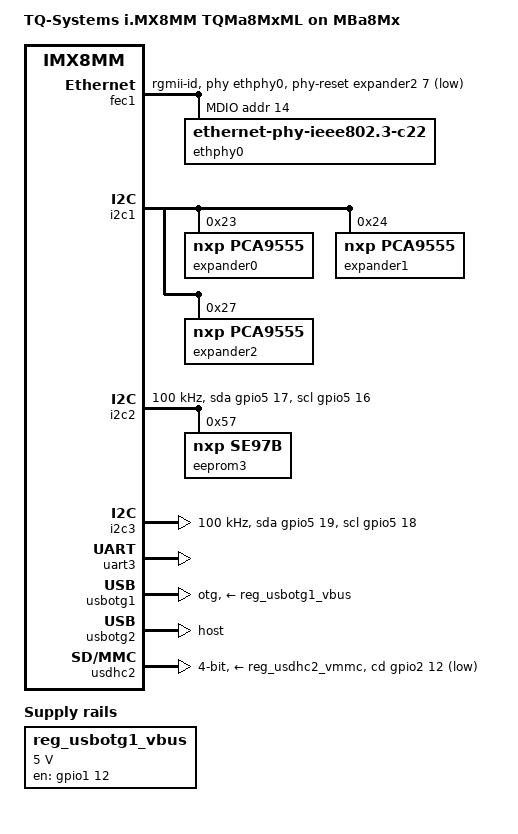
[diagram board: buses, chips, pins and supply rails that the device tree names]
// SPDX-License-Identifier: GPL-2.0-or-later OR MIT
/*
 * Copyright 2020-2021 TQ-Systems GmbH
 */

/dts-v1/;

#include "imx8mm-tqma8mxml.dtsi"
#include <dt-bindings/net/ti-dp83867.h>

/ {
	model = "TQ-Systems i.MX8MM TQMa8MxML on MBa8Mx";
	compatible = "tq,imx8mm-mba8mx", "tq,imx8mm-tqma8mxml", "fsl,imx8mm";

	aliases {
		mmc0 = &usdhc3;
		mmc1 = &usdhc2;
		/delete-property/ mmc2;
	};

	chosen {
		bootargs = "console=ttymxc2,115200 earlycon=ec_imx6q,0x30880000,115200";
		stdout-path = &uart3;
	};

	reg_usbotg1_vbus: regulator-usbotg1-vbus {
		compatible = "regulator-fixed";
		regulator-name = "USBOTG1_VBUS";
		pinctrl-names = "default";
		pinctrl-0 = <&pinctrl_reg_usbotg1_vbus>;
		regulator-min-microvolt = <5000000>;
		regulator-max-microvolt = <5000000>;
		gpio = <&gpio1 12 GPIO_ACTIVE_HIGH>;
		enable-active-high;
	};
};

&fec1 {
	pinctrl-names = "default";
	pinctrl-0 = <&pinctrl_fec1>;
	phy-mode = "rgmii-id";
	phy-handle = <&ethphy0>;
	fsl,magic-packet;
	phy-reset-gpios = <&expander2 7 GPIO_ACTIVE_LOW>;
	phy-reset-duration = <500>;
	status = "okay";

	mdio {
		#address-cells = <1>;
		#size-cells = <0>;

		ethphy0: ethernet-phy@e {
			compatible = "ethernet-phy-ieee802.3-c22";
			reg = <0xe>;
			ti,rx-internal-delay = <DP83867_RGMIIDCTL_2_50_NS>;
			ti,tx-internal-delay = <DP83867_RGMIIDCTL_2_50_NS>;
			ti,fifo-depth = <DP83867_PHYCR_FIFO_DEPTH_4_B_NIB>;
			ti,dp83867-rxctrl-strap-quirk;
			ti,clk-output-sel = <DP83867_CLK_O_SEL_OFF>;
			enet-phy-lane-no-swap;
			/* LED0: Link, LED2: activity */
			ti,led-function = <0x0100>;
			/* active low, LED0/2 driven by phy */
			ti,led-ctrl = <0x1010>;
		};
	};
};

&iomuxc {
	/*
	 * Pad Control Register
	 *
	 * | 0  | 0    | 0   | 0   | 0x   | 00x |
	 * | PE | HYS  | PUE | ODE | FSEL | DSE |
	 *
	 * PE: Pull Resistors Enable
	 * HYS: Hysteresis Enable
	 *
	 * PUE:
	 * 0 — Select pull-down resistors
	 * 1 — Select pull-up resistors
	 *
	 * ODE: Open Drain Enable
	 *
	 * FSEL:
	 * 0x - Select slow slew rate (SR=1)
	 * 1x — Select fast slew rate (SR=0)
	 *
	 * DSE:
	 * 00x — Drive strength x1
	 * 10x — Drive strength x2
	 * 01x — Drive strength x4
	 * 11x — Drive strength x6
	 *
	 * GPIO: 0x84 [HYS|slow|x2] (no pull up)
	 * UART: 0x16 [fast|x6] (no pull up)
	 * USDHC: 0x1d4 [PE|HYS|PUE|fast|x2]
	 * USDHC100: 0x1d4 [PE|HYS|PUE|fast|x2]
	 * USDHC200: 0x1d4 [PE|HYS|PUE|fast|x2]
	 * ENET_MDIO: 0x2 [slow|x4] (no pull up)
	 * ENET_TX: 0x16 [fast|x6] (no pull up)
	 * ENET_RX: 0x90 [HYS|fast|x1] (no pull up)
	 * ENET_GPIO: 0x10 [fast|x1] (no pull up)
	 */

	pinctrl_fec1: fec1grp {
		fsl,pins = <
			MX8MM_IOMUXC_ENET_MDC_ENET1_MDC		0x40000002
			MX8MM_IOMUXC_ENET_MDIO_ENET1_MDIO	0x40000002
			MX8MM_IOMUXC_ENET_TD3_ENET1_RGMII_TD3	0x14
			MX8MM_IOMUXC_ENET_TD2_ENET1_RGMII_TD2	0x14
			MX8MM_IOMUXC_ENET_TD1_ENET1_RGMII_TD1	0x14
			MX8MM_IOMUXC_ENET_TD0_ENET1_RGMII_TD0	0x14
			MX8MM_IOMUXC_ENET_RD3_ENET1_RGMII_RD3	0x90
			MX8MM_IOMUXC_ENET_RD2_ENET1_RGMII_RD2	0x90
			MX8MM_IOMUXC_ENET_RD1_ENET1_RGMII_RD1	0x90
			MX8MM_IOMUXC_ENET_RD0_ENET1_RGMII_RD0	0x90
			MX8MM_IOMUXC_ENET_TXC_ENET1_RGMII_TXC	0x14
			MX8MM_IOMUXC_ENET_RXC_ENET1_RGMII_RXC	0x90
			MX8MM_IOMUXC_ENET_RX_CTL_ENET1_RGMII_RX_CTL	0x90
			MX8MM_IOMUXC_ENET_TX_CTL_ENET1_RGMII_TX_CTL	0x14
			MX8MM_IOMUXC_SAI2_RXC_GPIO4_IO22	0x10
		>;
	};

	pinctrl_gpiobutton: gpiobuttongrp {
		fsl,pins = <
			MX8MM_IOMUXC_GPIO1_IO05_GPIO1_IO5	0x84
			MX8MM_IOMUXC_GPIO1_IO07_GPIO1_IO7	0x84
			MX8MM_IOMUXC_SD1_CLK_GPIO2_IO0		0x84
		>;
	};

	pinctrl_gpioled: gpioledgrp {
		fsl,pins = <
			MX8MM_IOMUXC_GPIO1_IO00_GPIO1_IO0	0x84
			MX8MM_IOMUXC_NAND_DQS_GPIO3_IO14	0x84
		>;
	};

	pinctrl_i2c2: i2c2grp {
		fsl,pins = <
			MX8MM_IOMUXC_I2C2_SCL_I2C2_SCL		0x40000004
			MX8MM_IOMUXC_I2C2_SDA_I2C2_SDA		0x40000004
		>;
	};

	pinctrl_i2c2_gpio: i2c2gpiogrp {
		fsl,pins = <
			MX8MM_IOMUXC_I2C2_SCL_GPIO5_IO16	0x40000004
			MX8MM_IOMUXC_I2C2_SDA_GPIO5_IO17	0x40000004
		>;
	};

	pinctrl_i2c3: i2c3grp {
		fsl,pins = <
			MX8MM_IOMUXC_I2C3_SCL_I2C3_SCL		0x40000004
			MX8MM_IOMUXC_I2C3_SDA_I2C3_SDA		0x40000004
		>;
	};

	pinctrl_i2c3_gpio: i2c3gpiogrp {
		fsl,pins = <
			MX8MM_IOMUXC_I2C3_SCL_GPIO5_IO18	0x40000004
			MX8MM_IOMUXC_I2C3_SDA_GPIO5_IO19	0x40000004
		>;
	};

	pinctrl_reg_usbotg1_vbus: regusbotg1vbusgrp {
		fsl,pins = <
			/* PWR */
			MX8MM_IOMUXC_GPIO1_IO12_GPIO1_IO12	0x84
		>;
	};

	pinctrl_uart3: uart3grp {
		fsl,pins = <
			MX8MM_IOMUXC_UART3_RXD_UART3_DCE_RX	0x16
			MX8MM_IOMUXC_UART3_TXD_UART3_DCE_TX	0x16
		>;
	};

	pinctrl_usbotg1: usbotg1grp {
		fsl,pins = <
			MX8MM_IOMUXC_GPIO1_IO13_USB1_OTG_OC	0x84
			MX8MM_IOMUXC_GPIO1_IO10_USB1_OTG_ID	0x84
		>;
	};

	pinctrl_usdhc2_gpio: usdhc2grpgpio {
		fsl,pins = <
			MX8MM_IOMUXC_SD2_CD_B_GPIO2_IO12	0x84
		>;
	};

	pinctrl_usdhc2: usdhc2grp {
		fsl,pins = <
			MX8MM_IOMUXC_SD2_CLK_USDHC2_CLK		0x1d4
			MX8MM_IOMUXC_SD2_CMD_USDHC2_CMD		0x1d4
			MX8MM_IOMUXC_SD2_DATA0_USDHC2_DATA0	0x1d4
			MX8MM_IOMUXC_SD2_DATA1_USDHC2_DATA1	0x1d4
			MX8MM_IOMUXC_SD2_DATA2_USDHC2_DATA2	0x1d4
			MX8MM_IOMUXC_SD2_DATA3_USDHC2_DATA3	0x1d4
			MX8MM_IOMUXC_GPIO1_IO04_USDHC2_VSELECT	0x84
		>;
	};

	pinctrl_usdhc2_100mhz: usdhc2grp100mhz {
		fsl,pins = <
			MX8MM_IOMUXC_SD2_CLK_USDHC2_CLK		0x1d4
			MX8MM_IOMUXC_SD2_CMD_USDHC2_CMD		0x1d4
			MX8MM_IOMUXC_SD2_DATA0_USDHC2_DATA0	0x1d4
			MX8MM_IOMUXC_SD2_DATA1_USDHC2_DATA1	0x1d4
			MX8MM_IOMUXC_SD2_DATA2_USDHC2_DATA2	0x1d4
			MX8MM_IOMUXC_SD2_DATA3_USDHC2_DATA3	0x1d4
			MX8MM_IOMUXC_GPIO1_IO04_USDHC2_VSELECT	0x84
		>;
	};

	pinctrl_usdhc2_200mhz: usdhc2grp200mhz {
		fsl,pins = <
			MX8MM_IOMUXC_SD2_CLK_USDHC2_CLK		0x1d4
			MX8MM_IOMUXC_SD2_CMD_USDHC2_CMD		0x1d4
			MX8MM_IOMUXC_SD2_DATA0_USDHC2_DATA0	0x1d4
			MX8MM_IOMUXC_SD2_DATA1_USDHC2_DATA1	0x1d4
			MX8MM_IOMUXC_SD2_DATA2_USDHC2_DATA2	0x1d4
			MX8MM_IOMUXC_SD2_DATA3_USDHC2_DATA3	0x1d4
			MX8MM_IOMUXC_GPIO1_IO04_USDHC2_VSELECT	0x84
		>;
	};
};

&i2c1 {
	expander0: gpio@23 {
		compatible = "nxp,pca9555";
		reg = <0x23>;
		gpio-controller;
		#gpio-cells = <2>;
	};

	expander1: gpio@24 {
		compatible = "nxp,pca9555";
		reg = <0x24>;
		gpio-controller;
		#gpio-cells = <2>;
	};

	expander2: gpio@27 {
		compatible = "nxp,pca9555";
		reg = <0x27>;
		gpio-controller;
		#gpio-cells = <2>;
	};
};

&i2c2 {
	clock-frequency = <100000>;
	pinctrl-names = "default", "gpio";
	pinctrl-0 = <&pinctrl_i2c2>;
	pinctrl-1 = <&pinctrl_i2c2_gpio>;
	scl-gpios = <&gpio5 16 (GPIO_ACTIVE_HIGH | GPIO_OPEN_DRAIN)>;
	sda-gpios = <&gpio5 17 (GPIO_ACTIVE_HIGH | GPIO_OPEN_DRAIN)>;
	status = "okay";

	eeprom3: eeprom@57 {
		compatible = "nxp,se97b", "atmel,24c02";
		reg = <0x57>;
		pagesize = <16>;
	};
};

&i2c3 {
	clock-frequency = <100000>;
	pinctrl-names = "default", "gpio";
	pinctrl-0 = <&pinctrl_i2c3>;
	pinctrl-1 = <&pinctrl_i2c3_gpio>;
	scl-gpios = <&gpio5 18 (GPIO_ACTIVE_HIGH | GPIO_OPEN_DRAIN)>;
	sda-gpios = <&gpio5 19 (GPIO_ACTIVE_HIGH | GPIO_OPEN_DRAIN)>;
	status = "okay";
};

/* console */
&uart3 {
	pinctrl-names = "default";
	pinctrl-0 = <&pinctrl_uart3>;
	status = "okay";
};

&usbotg1 {
	pinctrl-names = "default";
	pinctrl-0 = <&pinctrl_usbotg1>;
	vbus-supply = <&reg_usbotg1_vbus>;
	dr_mode = "otg";
	srp-disable;
	hnp-disable;
	adp-disable;
	power-active-high;
	over-current-active-low;
	status = "okay";
};

&usbotg2 {
	dr_mode = "host";
	disable-over-current;
	power-active-high;
	status = "okay";
};

&usdhc2 {
	pinctrl-names = "default", "state_100mhz", "state_200mhz";
	pinctrl-0 = <&pinctrl_usdhc2>, <&pinctrl_usdhc2_gpio>;
	pinctrl-1 = <&pinctrl_usdhc2_100mhz>, <&pinctrl_usdhc2_gpio>;
	pinctrl-2 = <&pinctrl_usdhc2_200mhz>, <&pinctrl_usdhc2_gpio>;
	bus-width = <4>;
	cd-gpios = <&gpio2 12 GPIO_ACTIVE_LOW>;
	disable-wp;
	no-mmc;
	no-sdio;
	vmmc-supply = <&reg_usdhc2_vmmc>;
	status = "okay";
};
